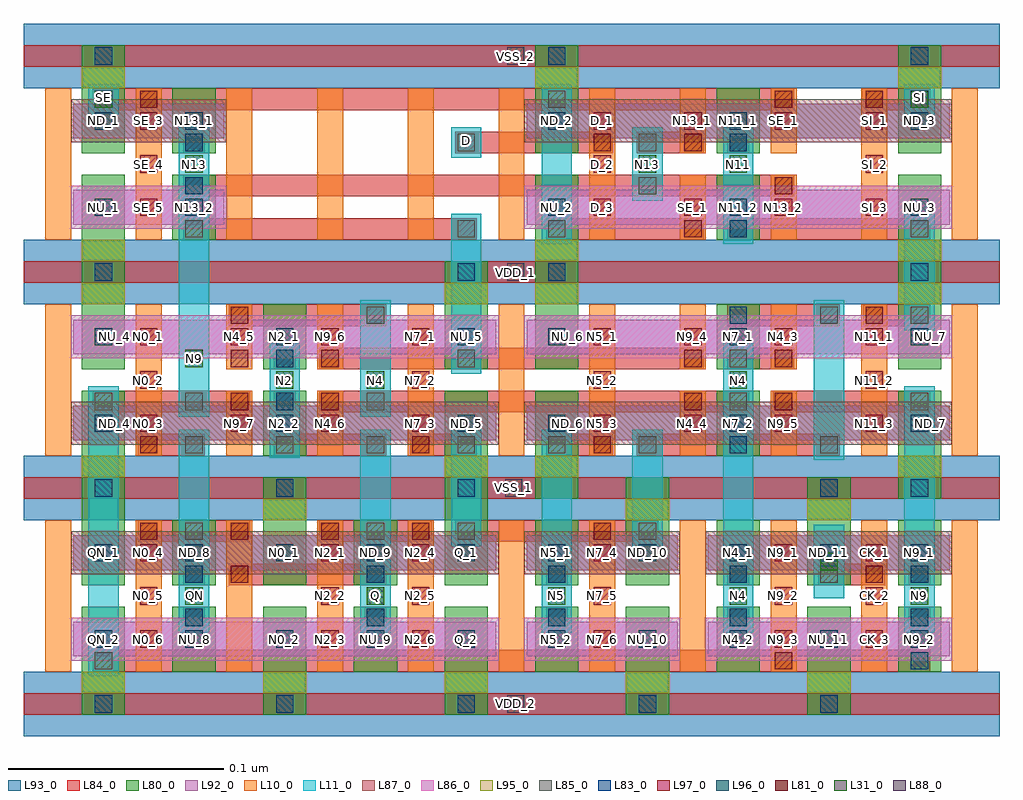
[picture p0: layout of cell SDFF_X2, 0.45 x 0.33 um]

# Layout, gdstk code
import gdstk
lib = gdstk.Library(unit=1e-6, precision=1e-09)
def R(c, l, rs):  # rectangles x0, y0, x1, y1
    for r in rs: c.add(gdstk.rectangle(r[:2], r[2:], *l))
def A(c, l, x, y, w, h, nx, ny, dx, dy):  # array of equal rectangles
    R(c, l, [(x+i*dx, y+j*dy, x+i*dx+w, y+j*dy+h) for i in range(nx) for j in range(ny)])
L10_0 = (10, 0)
L11_0 = (11, 0)
L31_0 = (31, 0)
L80_0 = (80, 0)
L81_0 = (81, 0)
L83_0 = (83, 0)
L84_0 = (84, 0)
L85_0 = (85, 0)
L86_0 = (86, 0)
L87_0 = (87, 0)
L88_0 = (88, 0)
L92_0 = (92, 0)
L93_0 = (93, 0)
L95_0 = (95, 0)
L96_0 = (96, 0)
L97_0 = (97, 0)

sdff_x2 = lib.new_cell('SDFF_X2')
A(sdff_x2, L10_0, 0.086, 0.093, 0.012, 0.07, 11, 1, 0.042, 0)
A(sdff_x2, L10_0, 0.254, 0.193, 0.012, 0.07, 3, 1, 0.042, 0)
A(sdff_x2, L10_0, 0.086, 0.293, 0.012, 0.07, 7, 1, 0.042, 0)
R(sdff_x2, L10_0, [(0.086,0.193,0.098,0.263), (0.128,0.193,0.14,0.263), (0.17,0.193,0.182,0.223), (0.212,0.193,0.224,0.223), (0.254,0.193,0.266,0.263), (0.38,0.193,0.392,0.223), (0.422,0.193,0.434,0.223), (0.464,0.193,0.476,0.263), (0.464,0.193,0.476,0.263), (0.506,0.193,0.518,0.263), (0.17,0.233,0.182,0.263), (0.212,0.233,0.224,0.263), (0.212,0.233,0.224,0.263), (0.38,0.233,0.392,0.263), (0.422,0.233,0.434,0.263), (0.422,0.233,0.434,0.263), (0.38,0.293,0.392,0.323), (0.422,0.293,0.434,0.323), (0.464,0.293,0.476,0.363), (0.464,0.293,0.476,0.363), (0.506,0.293,0.518,0.363), (0.38,0.333,0.392,0.363), (0.422,0.333,0.434,0.363), (0.422,0.333,0.434,0.363)])
A(sdff_x2, L11_0, 0.148, 0.111, 0.014, 0.034, 3, 1, 0.084, 0)
R(sdff_x2, L11_0, [(0.106,0.091,0.12,0.225), (0.316,0.111,0.33,0.145), (0.4,0.111,0.414,0.145), (0.4,0.111,0.414,0.145), (0.484,0.111,0.498,0.145), (0.484,0.111,0.498,0.225), (0.442,0.127,0.456,0.161), (0.316,0.143,0.33,0.205), (0.4,0.144,0.414,0.221), (0.148,0.151,0.162,0.205), (0.232,0.151,0.246,0.205), (0.274,0.151,0.288,0.205), (0.358,0.151,0.372,0.205), (0.442,0.191,0.456,0.265), (0.19,0.192,0.204,0.245), (0.148,0.211,0.162,0.305), (0.19,0.211,0.204,0.245), (0.232,0.211,0.246,0.265), (0.232,0.211,0.246,0.245), (0.4,0.211,0.414,0.245), (0.4,0.211,0.414,0.245), (0.274,0.231,0.288,0.305), (0.484,0.251,0.498,0.305), (0.316,0.291,0.33,0.365), (0.4,0.291,0.414,0.345), (0.148,0.311,0.162,0.345), (0.358,0.311,0.372,0.345), (0.274,0.331,0.288,0.345), (0.106,0.351,0.12,0.365), (0.484,0.351,0.498,0.365)])
A(sdff_x2, L31_0, 0.151, 0.124, 0.008, 0.008, 5, 1, 0.084, 0)
R(sdff_x2, L31_0, [(0.445,0.14,0.453,0.148), (0.193,0.224,0.201,0.232), (0.235,0.224,0.243,0.232), (0.403,0.224,0.411,0.232), (0.151,0.234,0.159,0.242), (0.151,0.324,0.159,0.332), (0.361,0.324,0.369,0.332), (0.403,0.324,0.411,0.332), (0.109,0.354,0.117,0.362), (0.487,0.354,0.495,0.362)])
A(sdff_x2, L80_0, 0.187, 0.073, 0.02, 0.03, 4, 1, 0.084, 0)
A(sdff_x2, L80_0, 0.145, 0.093, 0.02, 0.03, 9, 2, 0.042, 0.04)
A(sdff_x2, L80_0, 0.103, 0.193, 0.02, 0.03, 3, 2, 0.084, 0.04)
A(sdff_x2, L80_0, 0.313, 0.193, 0.02, 0.03, 3, 2, 0.084, 0.04)
A(sdff_x2, L80_0, 0.103, 0.253, 0.02, 0.03, 1, 3, 0, 0.02)
A(sdff_x2, L80_0, 0.313, 0.293, 0.02, 0.03, 3, 2, 0.084, 0.04)
R(sdff_x2, L80_0, [(0.103,0.073,0.123,0.123), (0.103,0.133,0.123,0.163), (0.145,0.133,0.165,0.163), (0.187,0.153,0.207,0.183), (0.355,0.153,0.375,0.183), (0.439,0.153,0.459,0.183), (0.103,0.158,0.123,0.179), (0.271,0.158,0.291,0.179), (0.103,0.173,0.123,0.203), (0.271,0.173,0.291,0.203), (0.313,0.173,0.333,0.203), (0.481,0.173,0.501,0.203), (0.271,0.253,0.291,0.283), (0.313,0.253,0.333,0.283), (0.481,0.253,0.501,0.283), (0.313,0.273,0.333,0.303), (0.313,0.273,0.333,0.303), (0.481,0.273,0.501,0.303), (0.145,0.293,0.165,0.323), (0.103,0.333,0.123,0.363), (0.145,0.333,0.165,0.363), (0.103,0.353,0.123,0.383), (0.313,0.353,0.333,0.383), (0.481,0.353,0.501,0.383)])
A(sdff_x2, L81_0, 0.13, 0.154, 0.008, 0.008, 4, 1, 0.042, 0)
A(sdff_x2, L81_0, 0.172, 0.214, 0.008, 0.008, 1, 3, 0, 0.02)
R(sdff_x2, L81_0, [(0.424,0.094,0.432,0.102), (0.172,0.134,0.18,0.142), (0.466,0.134,0.474,0.142), (0.34,0.154,0.348,0.162), (0.13,0.194,0.138,0.202), (0.13,0.194,0.138,0.202), (0.256,0.194,0.264,0.202), (0.34,0.194,0.348,0.202), (0.34,0.194,0.348,0.202), (0.34,0.194,0.348,0.202), (0.214,0.214,0.222,0.222), (0.214,0.214,0.222,0.222), (0.382,0.214,0.39,0.222), (0.424,0.214,0.432,0.222), (0.214,0.234,0.222,0.242), (0.382,0.234,0.39,0.242), (0.424,0.234,0.432,0.242), (0.424,0.234,0.432,0.242), (0.466,0.254,0.474,0.262), (0.382,0.294,0.39,0.302), (0.382,0.294,0.39,0.302), (0.424,0.314,0.432,0.322), (0.424,0.314,0.432,0.322), (0.34,0.334,0.348,0.342), (0.382,0.334,0.39,0.342), (0.13,0.354,0.138,0.362), (0.424,0.354,0.432,0.362), (0.466,0.354,0.474,0.362)])
A(sdff_x2, L83_0, 0.109, 0.074, 0.008, 0.008, 5, 1, 0.084, 0)
A(sdff_x2, L83_0, 0.151, 0.114, 0.008, 0.008, 3, 1, 0.084, 0)
A(sdff_x2, L83_0, 0.403, 0.134, 0.008, 0.008, 1, 3, 0, 0.06)
A(sdff_x2, L83_0, 0.109, 0.174, 0.008, 0.008, 3, 1, 0.084, 0)
R(sdff_x2, L83_0, [(0.445,0.074,0.453,0.082), (0.445,0.074,0.453,0.082), (0.445,0.074,0.453,0.082), (0.487,0.094,0.495,0.102), (0.487,0.094,0.495,0.102), (0.319,0.114,0.327,0.122), (0.403,0.114,0.411,0.122), (0.403,0.114,0.411,0.122), (0.487,0.114,0.495,0.122), (0.487,0.114,0.495,0.122), (0.151,0.134,0.159,0.142), (0.151,0.134,0.159,0.142), (0.235,0.134,0.243,0.142), (0.235,0.134,0.243,0.142), (0.319,0.134,0.327,0.142), (0.319,0.134,0.327,0.142), (0.403,0.134,0.411,0.142), (0.487,0.134,0.495,0.142), (0.277,0.174,0.285,0.182), (0.277,0.174,0.285,0.182), (0.277,0.174,0.285,0.182), (0.445,0.174,0.453,0.182), (0.487,0.174,0.495,0.182), (0.487,0.174,0.495,0.182), (0.487,0.174,0.495,0.182), (0.487,0.174,0.495,0.182), (0.193,0.214,0.201,0.222), (0.193,0.234,0.201,0.242), (0.109,0.274,0.117,0.282), (0.109,0.274,0.117,0.282), (0.277,0.274,0.285,0.282), (0.319,0.274,0.327,0.282), (0.319,0.274,0.327,0.282), (0.319,0.274,0.327,0.282), (0.487,0.274,0.495,0.282), (0.487,0.274,0.495,0.282), (0.403,0.294,0.411,0.302), (0.151,0.314,0.159,0.322), (0.151,0.334,0.159,0.342), (0.403,0.334,0.411,0.342), (0.109,0.374,0.117,0.382), (0.319,0.374,0.327,0.382), (0.487,0.374,0.495,0.382)])
A(sdff_x2, L84_0, 0.076, 0.073, 0.452, 0.01, 1, 4, 0, 0.1)
A(sdff_x2, L84_0, 0.15, 0.113, 0.01, 0.01, 4, 1, 0.084, 0)
A(sdff_x2, L84_0, 0.15, 0.133, 0.01, 0.01, 3, 1, 0.084, 0)
R(sdff_x2, L84_0, [(0.108,0.093,0.433,0.103), (0.423,0.093,0.496,0.103), (0.402,0.113,0.412,0.123), (0.486,0.113,0.496,0.123), (0.486,0.113,0.496,0.123), (0.171,0.133,0.244,0.143), (0.318,0.133,0.328,0.143), (0.402,0.133,0.412,0.143), (0.402,0.133,0.412,0.143), (0.444,0.133,0.475,0.143), (0.486,0.133,0.496,0.143), (0.129,0.153,0.181,0.163), (0.213,0.153,0.265,0.163), (0.276,0.153,0.349,0.163), (0.297,0.153,0.37,0.163), (0.129,0.193,0.16,0.203), (0.192,0.193,0.244,0.203), (0.255,0.193,0.286,0.203), (0.318,0.193,0.349,0.203), (0.36,0.193,0.454,0.203), (0.108,0.213,0.181,0.223), (0.192,0.213,0.202,0.223), (0.213,0.213,0.382,0.223), (0.381,0.213,0.412,0.223), (0.423,0.213,0.496,0.223), (0.192,0.233,0.202,0.243), (0.213,0.233,0.391,0.243), (0.402,0.233,0.433,0.243), (0.171,0.253,0.244,0.263), (0.402,0.253,0.454,0.263), (0.465,0.253,0.496,0.263), (0.15,0.293,0.286,0.303), (0.318,0.293,0.391,0.303), (0.402,0.293,0.496,0.303), (0.15,0.313,0.16,0.323), (0.15,0.313,0.37,0.323), (0.36,0.313,0.433,0.323), (0.15,0.333,0.16,0.343), (0.276,0.333,0.349,0.343), (0.36,0.333,0.391,0.343), (0.402,0.333,0.412,0.343), (0.108,0.353,0.139,0.363), (0.129,0.353,0.433,0.363), (0.464,0.353,0.496,0.363)])
A(sdff_x2, L85_0, 0.151, 0.114, 0.008, 0.008, 3, 1, 0.084, 0)
A(sdff_x2, L85_0, 0.403, 0.134, 0.008, 0.008, 3, 1, 0.042, 0)
A(sdff_x2, L85_0, 0.151, 0.194, 0.008, 0.008, 6, 1, 0.042, 0)
A(sdff_x2, L85_0, 0.109, 0.214, 0.008, 0.008, 3, 1, 0.042, 0)
A(sdff_x2, L85_0, 0.151, 0.294, 0.008, 0.008, 1, 3, 0, 0.02)
A(sdff_x2, L85_0, 0.319, 0.294, 0.008, 0.008, 3, 1, 0.084, 0)
R(sdff_x2, L85_0, [(0.109,0.094,0.117,0.102), (0.319,0.114,0.327,0.122), (0.403,0.114,0.411,0.122), (0.403,0.114,0.411,0.122), (0.487,0.114,0.495,0.122), (0.487,0.114,0.495,0.122), (0.235,0.124,0.243,0.132), (0.151,0.134,0.159,0.142), (0.151,0.134,0.159,0.142), (0.235,0.134,0.243,0.142), (0.235,0.134,0.243,0.142), (0.319,0.134,0.327,0.142), (0.319,0.134,0.327,0.142), (0.403,0.134,0.411,0.142), (0.151,0.154,0.159,0.162), (0.151,0.154,0.159,0.162), (0.235,0.154,0.243,0.162), (0.277,0.154,0.285,0.162), (0.277,0.154,0.285,0.162), (0.277,0.154,0.285,0.162), (0.361,0.154,0.369,0.162), (0.445,0.194,0.453,0.202), (0.193,0.214,0.201,0.222), (0.235,0.214,0.243,0.222), (0.403,0.214,0.411,0.222), (0.403,0.214,0.411,0.222), (0.487,0.214,0.495,0.222), (0.193,0.234,0.201,0.242), (0.193,0.234,0.201,0.242), (0.277,0.234,0.285,0.242), (0.403,0.234,0.411,0.242), (0.403,0.234,0.411,0.242), (0.235,0.254,0.243,0.262), (0.445,0.254,0.453,0.262), (0.487,0.254,0.495,0.262), (0.277,0.294,0.285,0.302), (0.361,0.314,0.369,0.322), (0.277,0.334,0.285,0.342), (0.277,0.334,0.285,0.342), (0.361,0.334,0.369,0.342), (0.403,0.334,0.411,0.342), (0.109,0.354,0.117,0.362), (0.109,0.354,0.117,0.362), (0.319,0.354,0.327,0.362), (0.487,0.354,0.495,0.362)])
R(sdff_x2, L86_0, [(0.098,0.098,0.296,0.118), (0.308,0.098,0.38,0.118), (0.392,0.098,0.506,0.118), (0.098,0.238,0.296,0.258), (0.308,0.238,0.506,0.258), (0.098,0.298,0.17,0.318), (0.308,0.298,0.506,0.318)])
R(sdff_x2, L87_0, [(0.098,0.138,0.296,0.158), (0.308,0.138,0.38,0.158), (0.392,0.138,0.506,0.158), (0.098,0.198,0.296,0.218), (0.308,0.198,0.506,0.218), (0.098,0.338,0.17,0.358), (0.308,0.338,0.506,0.358)])
R(sdff_x2, L88_0, [(0.3,0.074,0.308,0.082), (0.299,0.174,0.307,0.182), (0.3,0.274,0.308,0.282), (0.3,0.374,0.308,0.382)])
R(sdff_x2, L92_0, [(0.099,0.1,0.295,0.116), (0.309,0.1,0.379,0.116), (0.393,0.1,0.505,0.116), (0.099,0.14,0.295,0.156), (0.309,0.14,0.379,0.156), (0.393,0.14,0.505,0.156), (0.099,0.2,0.295,0.216), (0.309,0.2,0.505,0.216), (0.099,0.24,0.295,0.256), (0.309,0.24,0.505,0.256), (0.099,0.3,0.169,0.316), (0.309,0.3,0.505,0.316), (0.099,0.34,0.169,0.356), (0.309,0.34,0.505,0.356)])
A(sdff_x2, L93_0, 0.076, 0.063, 0.452, 0.03, 1, 4, 0, 0.1)
A(sdff_x2, L95_0, 0.103, 0.083, 0.02, 0.01, 5, 1, 0.084, 0)
R(sdff_x2, L95_0, [(0.187,0.163,0.207,0.173), (0.355,0.163,0.375,0.173), (0.439,0.163,0.459,0.173), (0.103,0.183,0.123,0.193), (0.271,0.183,0.291,0.193), (0.313,0.183,0.333,0.193), (0.481,0.183,0.501,0.193), (0.103,0.263,0.123,0.273), (0.271,0.263,0.291,0.273), (0.313,0.263,0.333,0.273), (0.481,0.263,0.501,0.273), (0.103,0.283,0.123,0.293), (0.313,0.283,0.333,0.293), (0.313,0.283,0.333,0.293), (0.481,0.283,0.501,0.293), (0.103,0.363,0.123,0.373), (0.313,0.363,0.333,0.373), (0.481,0.363,0.501,0.373)])
A(sdff_x2, L96_0, 0.109, 0.104, 0.008, 0.008, 10, 2, 0.042, 0.04)
A(sdff_x2, L96_0, 0.109, 0.204, 0.008, 0.008, 3, 2, 0.084, 0.04)
A(sdff_x2, L96_0, 0.319, 0.204, 0.008, 0.008, 3, 2, 0.084, 0.04)
A(sdff_x2, L96_0, 0.319, 0.304, 0.008, 0.008, 3, 2, 0.084, 0.04)
R(sdff_x2, L96_0, [(0.109,0.304,0.117,0.312), (0.151,0.304,0.159,0.312), (0.109,0.344,0.117,0.352), (0.151,0.344,0.159,0.352)])
A(sdff_x2, L97_0, 0.13, 0.104, 0.008, 0.008, 1, 3, 0, 0.02)
A(sdff_x2, L97_0, 0.214, 0.104, 0.008, 0.008, 1, 3, 0, 0.02)
A(sdff_x2, L97_0, 0.256, 0.104, 0.008, 0.008, 3, 3, 0.084, 0.02)
A(sdff_x2, L97_0, 0.466, 0.104, 0.008, 0.008, 1, 3, 0, 0.02)
A(sdff_x2, L97_0, 0.13, 0.204, 0.008, 0.008, 4, 2, 0.042, 0.04)
A(sdff_x2, L97_0, 0.34, 0.204, 0.008, 0.008, 4, 2, 0.042, 0.04)
A(sdff_x2, L97_0, 0.13, 0.304, 0.008, 0.008, 1, 3, 0, 0.02)
A(sdff_x2, L97_0, 0.34, 0.304, 0.008, 0.008, 4, 2, 0.042, 0.04)
R(sdff_x2, L97_0, [(0.13,0.224,0.138,0.232), (0.256,0.224,0.264,0.232), (0.34,0.224,0.348,0.232), (0.466,0.224,0.474,0.232), (0.34,0.324,0.348,0.332), (0.466,0.324,0.474,0.332)])
sdff_x2.add(gdstk.Label('CK_3', (0.47,0.108), layer=97, texttype=0))
sdff_x2.add(gdstk.Label('CK_1', (0.47,0.148), layer=97, texttype=0))
sdff_x2.add(gdstk.Label('N9_3', (0.428,0.108), layer=97, texttype=0))
sdff_x2.add(gdstk.Label('N9_1', (0.428,0.148), layer=97, texttype=0))
sdff_x2.add(gdstk.Label('N7_6', (0.344,0.108), layer=97, texttype=0))
sdff_x2.add(gdstk.Label('N7_4', (0.344,0.148), layer=97, texttype=0))
sdff_x2.add(gdstk.Label('N2_4', (0.26,0.148), layer=97, texttype=0))
sdff_x2.add(gdstk.Label('N2_6', (0.26,0.108), layer=97, texttype=0))
sdff_x2.add(gdstk.Label('N2_1', (0.218,0.148), layer=97, texttype=0))
sdff_x2.add(gdstk.Label('N2_3', (0.218,0.108), layer=97, texttype=0))
sdff_x2.add(gdstk.Label('SE_4', (0.134,0.328), layer=97, texttype=0))
sdff_x2.add(gdstk.Label('D_2', (0.344,0.328), layer=97, texttype=0))
sdff_x2.add(gdstk.Label('SE_1', (0.386,0.308), layer=97, texttype=0))
sdff_x2.add(gdstk.Label('N13_1', (0.386,0.348), layer=97, texttype=0))
sdff_x2.add(gdstk.Label('SI_2', (0.47,0.328), layer=97, texttype=0))
sdff_x2.add(gdstk.Label('N0_2', (0.134,0.228), layer=97, texttype=0))
sdff_x2.add(gdstk.Label('N7_5', (0.344,0.128), layer=97, texttype=0))
sdff_x2.add(gdstk.Label('SE_1', (0.428,0.348), layer=97, texttype=0))
sdff_x2.add(gdstk.Label('N2_5', (0.26,0.128), layer=97, texttype=0))
sdff_x2.add(gdstk.Label('N4_6', (0.218,0.208), layer=97, texttype=0))
sdff_x2.add(gdstk.Label('N13_2', (0.428,0.308), layer=97, texttype=0))
sdff_x2.add(gdstk.Label('N11_2', (0.47,0.228), layer=97, texttype=0))
sdff_x2.add(gdstk.Label('N9_5', (0.428,0.208), layer=97, texttype=0))
sdff_x2.add(gdstk.Label('N4_3', (0.428,0.248), layer=97, texttype=0))
sdff_x2.add(gdstk.Label('N9_4', (0.386,0.248), layer=97, texttype=0))
sdff_x2.add(gdstk.Label('N4_4', (0.386,0.208), layer=97, texttype=0))
sdff_x2.add(gdstk.Label('N5_2', (0.344,0.228), layer=97, texttype=0))
sdff_x2.add(gdstk.Label('N4_5', (0.176,0.248), layer=97, texttype=0))
sdff_x2.add(gdstk.Label('N7_2', (0.26,0.228), layer=97, texttype=0))
sdff_x2.add(gdstk.Label('N9_7', (0.176,0.208), layer=97, texttype=0))
sdff_x2.add(gdstk.Label('N9_2', (0.428,0.128), layer=97, texttype=0))
sdff_x2.add(gdstk.Label('N9_6', (0.218,0.248), layer=97, texttype=0))
sdff_x2.add(gdstk.Label('CK_2', (0.47,0.128), layer=97, texttype=0))
sdff_x2.add(gdstk.Label('N0_5', (0.134,0.128), layer=97, texttype=0))
sdff_x2.add(gdstk.Label('N2_2', (0.218,0.128), layer=97, texttype=0))
sdff_x2.add(gdstk.Label('SE_5', (0.134,0.308), layer=97, texttype=0))
sdff_x2.add(gdstk.Label('SE_3', (0.134,0.348), layer=97, texttype=0))
sdff_x2.add(gdstk.Label('D_3', (0.344,0.308), layer=97, texttype=0))
sdff_x2.add(gdstk.Label('D_1', (0.344,0.348), layer=97, texttype=0))
sdff_x2.add(gdstk.Label('SI_1', (0.47,0.348), layer=97, texttype=0))
sdff_x2.add(gdstk.Label('SI_3', (0.47,0.308), layer=97, texttype=0))
sdff_x2.add(gdstk.Label('N11_1', (0.47,0.248), layer=97, texttype=0))
sdff_x2.add(gdstk.Label('N11_3', (0.47,0.208), layer=97, texttype=0))
sdff_x2.add(gdstk.Label('N5_1', (0.344,0.248), layer=97, texttype=0))
sdff_x2.add(gdstk.Label('N5_3', (0.344,0.208), layer=97, texttype=0))
sdff_x2.add(gdstk.Label('N7_3', (0.26,0.208), layer=97, texttype=0))
sdff_x2.add(gdstk.Label('N7_1', (0.26,0.248), layer=97, texttype=0))
sdff_x2.add(gdstk.Label('N0_1', (0.134,0.248), layer=97, texttype=0))
sdff_x2.add(gdstk.Label('N0_3', (0.134,0.208), layer=97, texttype=0))
sdff_x2.add(gdstk.Label('N0_4', (0.134,0.148), layer=97, texttype=0))
sdff_x2.add(gdstk.Label('N0_6', (0.134,0.108), layer=97, texttype=0))
sdff_x2.add(gdstk.Label('N4_2', (0.407,0.108), layer=96, texttype=0))
sdff_x2.add(gdstk.Label('ND_1', (0.113,0.348), layer=96, texttype=0))
sdff_x2.add(gdstk.Label('NU_1', (0.113,0.308), layer=96, texttype=0))
sdff_x2.add(gdstk.Label('ND_3', (0.491,0.348), layer=96, texttype=0))
sdff_x2.add(gdstk.Label('NU_3', (0.491,0.308), layer=96, texttype=0))
sdff_x2.add(gdstk.Label('ND_2', (0.323,0.348), layer=96, texttype=0))
sdff_x2.add(gdstk.Label('NU_2', (0.323,0.308), layer=96, texttype=0))
sdff_x2.add(gdstk.Label('N11_1', (0.407,0.348), layer=96, texttype=0))
sdff_x2.add(gdstk.Label('N11_2', (0.407,0.308), layer=96, texttype=0))
sdff_x2.add(gdstk.Label('ND_5', (0.281,0.208), layer=96, texttype=0))
sdff_x2.add(gdstk.Label('NU_5', (0.281,0.248), layer=96, texttype=0))
sdff_x2.add(gdstk.Label('NU_9', (0.239,0.108), layer=96, texttype=0))
sdff_x2.add(gdstk.Label('N9_2', (0.491,0.108), layer=96, texttype=0))
sdff_x2.add(gdstk.Label('N9_1', (0.491,0.148), layer=96, texttype=0))
sdff_x2.add(gdstk.Label('NU_11', (0.449,0.108), layer=96, texttype=0))
sdff_x2.add(gdstk.Label('ND_11', (0.449,0.148), layer=96, texttype=0))
sdff_x2.add(gdstk.Label('Q_2', (0.281,0.108), layer=96, texttype=0))
sdff_x2.add(gdstk.Label('N0_2', (0.197,0.108), layer=96, texttype=0))
sdff_x2.add(gdstk.Label('ND_9', (0.239,0.148), layer=96, texttype=0))
sdff_x2.add(gdstk.Label('ND_8', (0.155,0.148), layer=96, texttype=0))
sdff_x2.add(gdstk.Label('N0_1', (0.197,0.148), layer=96, texttype=0))
sdff_x2.add(gdstk.Label('NU_4', (0.118,0.248), layer=96, texttype=0))
sdff_x2.add(gdstk.Label('N2_1', (0.197,0.248), layer=96, texttype=0))
sdff_x2.add(gdstk.Label('N2_2', (0.197,0.208), layer=96, texttype=0))
sdff_x2.add(gdstk.Label('ND_10', (0.365,0.148), layer=96, texttype=0))
sdff_x2.add(gdstk.Label('NU_10', (0.365,0.108), layer=96, texttype=0))
sdff_x2.add(gdstk.Label('ND_4', (0.118,0.208), layer=96, texttype=0))
sdff_x2.add(gdstk.Label('QN_1', (0.113,0.148), layer=96, texttype=0))
sdff_x2.add(gdstk.Label('QN_2', (0.113,0.108), layer=96, texttype=0))
sdff_x2.add(gdstk.Label('N5_1', (0.323,0.148), layer=96, texttype=0))
sdff_x2.add(gdstk.Label('N5_2', (0.323,0.108), layer=96, texttype=0))
sdff_x2.add(gdstk.Label('N7_2', (0.407,0.208), layer=96, texttype=0))
sdff_x2.add(gdstk.Label('N7_1', (0.407,0.248), layer=96, texttype=0))
sdff_x2.add(gdstk.Label('ND_6', (0.328,0.208), layer=96, texttype=0))
sdff_x2.add(gdstk.Label('NU_6', (0.328,0.248), layer=96, texttype=0))
sdff_x2.add(gdstk.Label('Q_1', (0.281,0.148), layer=96, texttype=0))
sdff_x2.add(gdstk.Label('NU_8', (0.155,0.108), layer=96, texttype=0))
sdff_x2.add(gdstk.Label('ND_7', (0.496,0.208), layer=96, texttype=0))
sdff_x2.add(gdstk.Label('NU_7', (0.496,0.248), layer=96, texttype=0))
sdff_x2.add(gdstk.Label('N13_2', (0.155,0.308), layer=96, texttype=0))
sdff_x2.add(gdstk.Label('N13_1', (0.155,0.348), layer=96, texttype=0))
sdff_x2.add(gdstk.Label('N4_1', (0.407,0.148), layer=96, texttype=0))
sdff_x2.add(gdstk.Label('VSS_1', (0.303,0.178), layer=88, texttype=0))
sdff_x2.add(gdstk.Label('VDD_2', (0.304,0.078), layer=88, texttype=0))
sdff_x2.add(gdstk.Label('VDD_1', (0.304,0.278), layer=88, texttype=0))
sdff_x2.add(gdstk.Label('VSS_2', (0.304,0.378), layer=88, texttype=0))
sdff_x2.add(gdstk.Label('SI', (0.491,0.359), layer=31, texttype=0))
sdff_x2.add(gdstk.Label('SE', (0.113,0.359), layer=31, texttype=0))
sdff_x2.add(gdstk.Label('D', (0.281,0.339), layer=31, texttype=0))
sdff_x2.add(gdstk.Label('N13', (0.155,0.328), layer=31, texttype=0))
sdff_x2.add(gdstk.Label('N13', (0.365,0.328), layer=31, texttype=0))
sdff_x2.add(gdstk.Label('N11', (0.407,0.328), layer=31, texttype=0))
sdff_x2.add(gdstk.Label('N4', (0.239,0.228), layer=31, texttype=0))
sdff_x2.add(gdstk.Label('N2', (0.197,0.228), layer=31, texttype=0))
sdff_x2.add(gdstk.Label('N4', (0.407,0.128), layer=31, texttype=0))
sdff_x2.add(gdstk.Label('N9', (0.491,0.128), layer=31, texttype=0))
sdff_x2.add(gdstk.Label('CK', (0.449,0.144), layer=31, texttype=0))
sdff_x2.add(gdstk.Label('N4', (0.407,0.228), layer=31, texttype=0))
sdff_x2.add(gdstk.Label('QN', (0.155,0.128), layer=31, texttype=0))
sdff_x2.add(gdstk.Label('N5', (0.323,0.128), layer=31, texttype=0))
sdff_x2.add(gdstk.Label('N9', (0.155,0.238), layer=31, texttype=0))
sdff_x2.add(gdstk.Label('Q', (0.239,0.128), layer=31, texttype=0))

lib.write_gds('SDFF_X2.gds')
